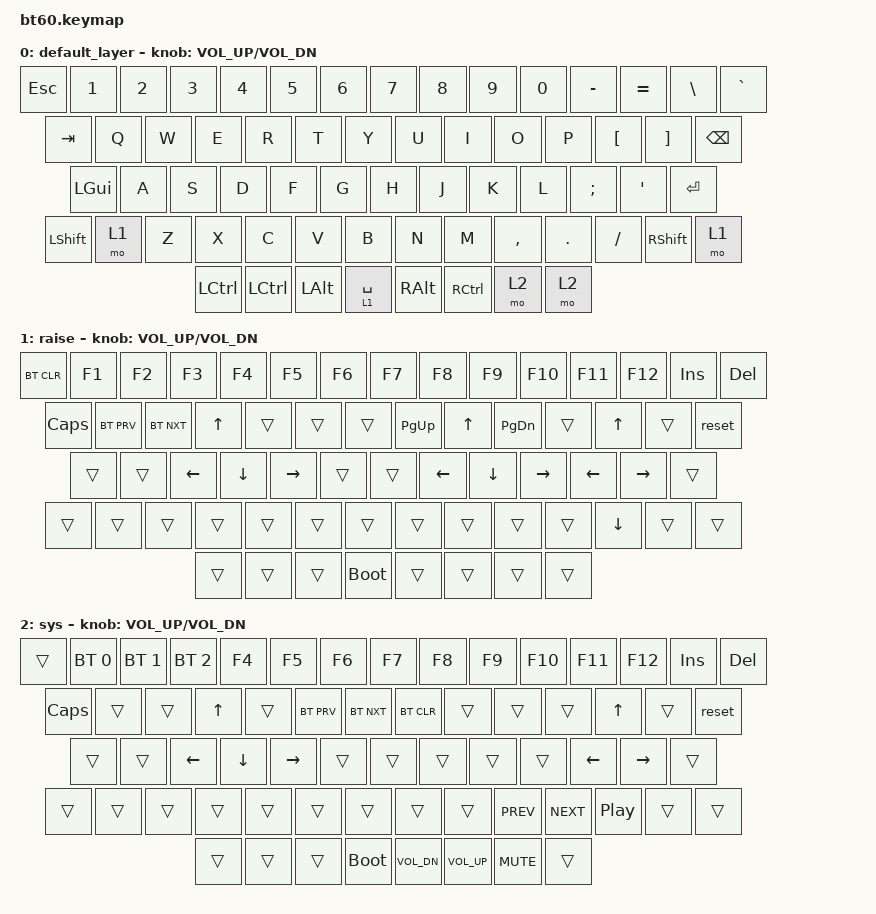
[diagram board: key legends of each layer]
#include <behaviors.dtsi>
#include <dt-bindings/zmk/keys.h>
#include <dt-bindings/zmk/bt.h>

/ {
	keymap {
		compatible = "zmk,keymap";

		default_layer {
				// ------------------------------------------------------------------------------------------ 
				// | ESC |  1  |  2  |  3  |  4  |  5  |  6  |  7  |  8  |  9  |  0  |  -  |  =  |  \  | `  |
				// | TAB  |  Q  |  W  |  E  |  R  |  T  |  Y  |  U  |  I  |  O  |  P  |  [  |  ]  |  BSPC   |
				// | CTRL  |  A  |  S  |  D  |  F  |  G  |  H  |  J  |  K  |  L  |  ;  |  '  |      ENTER   |
				// |  SHIFT  | 1  |  Z  |  X  |  C  |  V  |  B  |  N  |  M  |  ,  |  .  | /   | SHIFT |   1 |
				// |  CAPS  |  ALT  |  WIN |                     SPACE               |   WIN   | ALT | CTRL |
				// ------------------------------------------------------------------------------------------
			bindings = <
				&kp ESC       &kp N1          &kp N2          &kp N3        &kp N4    &kp N5    &kp N6    &kp N7    &kp  N8      &kp  N9     &kp  N0       &kp MINUS     &kp EQUAL          &kp BSLH    &kp GRAVE
				&kp TAB       &kp Q           &kp W           &kp E         &kp R     &kp T     &kp Y     &kp U     &kp  I       &kp  O      &kp  P        &kp LBKT      &kp RBKT           &kp BSPC
				&kp LGUI     &kp A           &kp S           &kp D         &kp F     &kp G     &kp H     &kp J     &kp  K       &kp  L      &kp SEMI      &kp SQT       &kp RET
				&kp LSHFT   &mo 1  	&kp Z           &kp X           &kp C         &kp V     &kp B     &kp N     &kp M     &kp COMMA    &kp DOT     &kp FSLH      &kp RSHFT     &mo 1
				&kp LCTRL     &kp LCTRL        &kp LALT                                                    &lt 1 SPACE                                        &kp RALT      &kp RCTRL           &mo 2	&mo 2
			>;
			sensor-bindings = <&inc_dec_kp C_VOL_UP C_VOL_DN>;
		};
		raise {
			bindings = <
				&bt BT_CLR        &kp F1          &kp F2          &kp F3        &kp F4    &kp F5    &kp F6    &kp F7    &kp F8       &kp F9      &kp F10       &kp F11       &kp F12            &kp INS      &kp DEL
				&kp CLCK      &bt BT_PRV   	&bt BT_NXT  &kp UP       &trans    &trans    &trans    &kp PG_UP    &kp UP       &kp PG_DN      &trans        &kp UP        &trans             &reset
				&trans        &trans 		&kp LEFT    &kp DOWN    &kp RIGHT    &trans    &trans    &kp LEFT    &kp DOWN       &kp RIGHT      &kp LEFT      &kp RIGHT     &trans
				&trans        &trans		&trans          &trans          &trans        &trans    &trans    &trans    &trans    &trans      &trans      &kp DOWN      &trans        &trans
				&trans        &trans          	&trans                                                      &bootloader                                      &trans        &trans             &trans		&trans
			>;
			sensor-bindings = <&inc_dec_kp C_VOL_UP C_VOL_DN>;
		};
		sys {
			bindings = <
				&trans        &bt BT_SEL 0          &bt BT_SEL 1         &bt BT_SEL 2       &kp F4    &kp F5    &kp F6    &kp F7    &kp F8       &kp F9      &kp F10       &kp F11       &kp F12            &kp INS      &kp DEL
				&kp CLCK      &trans      &trans &kp UP       &trans    &bt BT_PRV    &bt BT_NXT    &bt BT_CLR    &trans       &trans      &trans        &kp UP        &trans             &reset
				&trans        &trans 	 &kp LEFT    &kp DOWN    &kp RIGHT    &trans    &trans    &trans    &trans       &trans      &kp LEFT      &kp RIGHT     &trans
				&trans        &trans	&trans          &trans          &trans        &trans    &trans    &trans    &trans    &kp C_PREV      &kp C_NEXT      &kp C_PP      &trans        &trans
				&trans        &trans          &trans                                                      &bootloader                                      &kp C_VOL_DN        &kp C_VOL_UP        &kp K_MUTE	&trans
			>;
			sensor-bindings = <&inc_dec_kp C_VOL_UP C_VOL_DN>;
		};
	};
};
